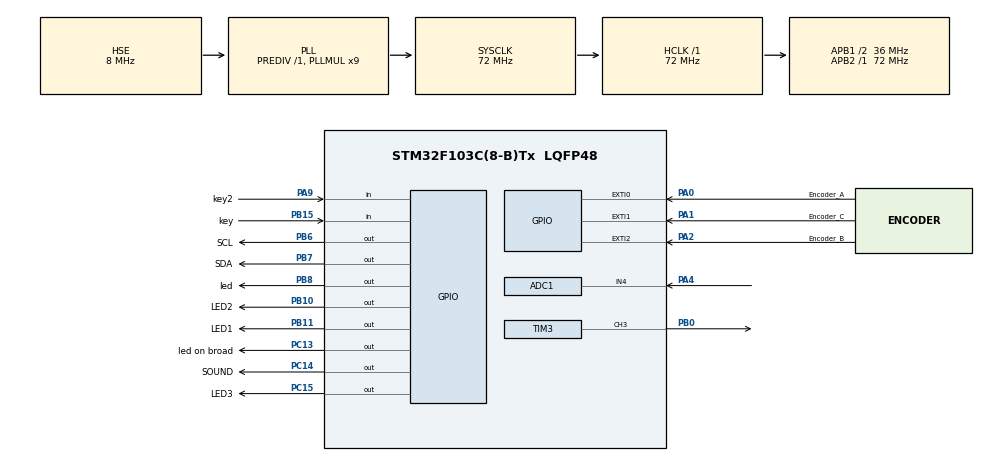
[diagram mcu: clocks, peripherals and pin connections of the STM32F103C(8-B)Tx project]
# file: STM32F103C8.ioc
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ADC1.Channel-0\#ChannelRegularConversion=ADC_CHANNEL_4
ADC1.NbrOfConversionFlag=1
ADC1.Rank-0\#ChannelRegularConversion=1
ADC1.SamplingTime-0\#ChannelRegularConversion=ADC_SAMPLETIME_1CYCLE_5
ADC1.master=1
Mcu.Family=STM32F1
Mcu.Name=STM32F103C(8-B)Tx
Mcu.Package=LQFP48
NVIC.EXTI0_IRQn=true\:0\:0\:false\:false\:true\:true\:true\:true
NVIC.EXTI1_IRQn=true\:0\:0\:false\:false\:true\:true\:true\:true
NVIC.EXTI2_IRQn=true\:0\:0\:false\:false\:true\:true\:true\:true
NVIC.PriorityGroup=NVIC_PRIORITYGROUP_4
PA0-WKUP.GPIO_Label=Encoder_A
PA0-WKUP.GPIO_ModeDefaultEXTI=GPIO_MODE_IT_RISING_FALLING
PA0-WKUP.GPIO_PuPd=GPIO_PULLUP
PA0-WKUP.Signal=GPXTI0
PA1.GPIO_Label=Encoder_C
PA1.GPIO_ModeDefaultEXTI=GPIO_MODE_IT_FALLING
PA1.GPIO_PuPd=GPIO_PULLUP
PA1.Signal=GPXTI1
PA13.Mode=Serial_Wire
PA13.Signal=SYS_JTMS-SWDIO
PA14.Mode=Serial_Wire
PA14.Signal=SYS_JTCK-SWCLK
PA2.GPIO_Label=Encoder_B
PA2.GPIO_ModeDefaultEXTI=GPIO_MODE_IT_RISING_FALLING
PA2.GPIO_PuPd=GPIO_PULLUP
PA2.Signal=GPXTI2
PA4.Signal=ADCx_IN4
PA9.GPIO_Label=key2
PA9.GPIO_PuPd=GPIO_PULLUP
PA9.Signal=GPIO_Input
PB0.Signal=S_TIM3_CH3
PB10.GPIO_Label=LED2
PB10.Signal=GPIO_Output
PB11.GPIO_Label=LED1
PB11.Signal=GPIO_Output
PB15.GPIO_Label=key
PB15.GPIO_PuPd=GPIO_PULLUP
PB15.Signal=GPIO_Input
PB6.GPIO_Label=SCL
PB6.GPIO_ModeDefaultOutputPP=GPIO_MODE_OUTPUT_OD
PB6.GPIO_PuPd=GPIO_NOPULL
PB6.Signal=GPIO_Output
PB7.GPIO_Label=SDA
PB7.GPIO_ModeDefaultOutputPP=GPIO_MODE_OUTPUT_OD
PB7.GPIO_PuPd=GPIO_NOPULL
PB7.Signal=GPIO_Output
PB8.GPIO_Label=led
PB8.Signal=GPIO_Output
PC13-TAMPER-RTC.GPIO_Label=led on broad
PC13-TAMPER-RTC.Signal=GPIO_Output
PC14-OSC32_IN.GPIO_Label=SOUND
PC14-OSC32_IN.PinState=GPIO_PIN_SET
PC14-OSC32_IN.Signal=GPIO_Output
PC15-OSC32_OUT.GPIO_Label=LED3
PC15-OSC32_OUT.Signal=GPIO_Output
PD0-OSC_IN.Mode=HSE-External-Oscillator
PD0-OSC_IN.Signal=RCC_OSC_IN
PD1-OSC_OUT.Mode=HSE-External-Oscillator
PD1-OSC_OUT.Signal=RCC_OSC_OUT
ProjectManager.HeapSize=0x200
ProjectManager.StackSize=0x400
ProjectManager.TargetToolchain=CMake
RCC.ADCPresc=RCC_ADCPCLK2_DIV6
RCC.AHBFreq_Value=72000000
RCC.APB1CLKDivider=RCC_HCLK_DIV2
RCC.APB1Freq_Value=36000000
RCC.APB1TimFreq_Value=72000000
RCC.APB2Freq_Value=72000000
RCC.APB2TimFreq_Value=72000000
RCC.HCLKFreq_Value=72000000
RCC.PLLMUL=RCC_PLL_MUL9
RCC.PLLSourceVirtual=RCC_PLLSOURCE_HSE
RCC.SYSCLKFreq_VALUE=72000000
RCC.SYSCLKSource=RCC_SYSCLKSOURCE_PLLCLK
RCC.USBFreq_Value=72000000
SH.ADCx_IN4.0=ADC1_IN4,IN4
SH.S_TIM3_CH3.0=TIM3_CH3,PWM Generation3 CH3
TIM3.Channel-PWM\ Generation3\ CH3=TIM_CHANNEL_3
TIM3.Period=1999
TIM3.Prescaler=7
VP_TIM1_VS_ClockSourceINT.Mode=Internal
VP_TIM2_VS_ClockSourceINT.Mode=Internal
VP_TIM3_VS_ClockSourceINT.Mode=Internal
board=custom

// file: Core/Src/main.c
/* USER CODE BEGIN Header */
/**
  ******************************************************************************
  * @file           : main.c
  * @brief          : Main program body
  ******************************************************************************
  * @attention
  *
  * Copyright (c) 2026 STMicroelectronics.
  * All rights reserved.
  *
  * This software is licensed under terms that can be found in the LICENSE file
  * in the root directory of this software component.
  * If no LICENSE file comes with this software, it is provided AS-IS.
  *
  ******************************************************************************
  */
/* USER CODE END Header */
#include "main.h"

/* USER CODE BEGIN Includes */
#include "adc.h"
#include "key.h"
#include "oled.h"
#include "oledfont.h"
#include "encoder.h"
/* USER CODE END Includes */

ADC_HandleTypeDef hadc1;

TIM_HandleTypeDef htim1;
TIM_HandleTypeDef htim2;
TIM_HandleTypeDef htim3;

void SystemClock_Config(void);
static void MX_GPIO_Init(void);
static void MX_TIM1_Init(void);
static void MX_TIM3_Init(void);
static void MX_TIM2_Init(void);
static void MX_ADC1_Init(void);

/* USER CODE BEGIN 0 */
void DWT_Init(void)
{
  CoreDebug->DEMCR |= CoreDebug_DEMCR_TRCENA_Msk;
  DWT->CYCCNT = 0;
  DWT->CTRL |= DWT_CTRL_CYCCNTENA_Msk;
}
void delay_us(uint32_t us)
{
  uint32_t start = DWT->CYCCNT;
  uint32_t cycles = us * (SystemCoreClock / 1000000);
  while (DWT->CYCCNT - start < cycles);
}
void HAL_GPIO_EXTI_Callback(uint16_t GPIO_Pin)
{
  Encoder_EXTI_Handler(GPIO_Pin);
}
/* USER CODE END 0 */

int main(void)
{

  /* MCU Configuration--------------------------------------------------------*/

  /* Reset of all peripherals, Initializes the Flash interface and the Systick. */
  HAL_Init();

  /* Configure the system clock */
  SystemClock_Config();

  /* Initialize all configured peripherals */
  MX_GPIO_Init();
  MX_TIM1_Init();
  MX_TIM3_Init();
  MX_TIM2_Init();
  MX_ADC1_Init();
  /* USER CODE BEGIN 2 */
  DWT_Init();
  OLED_Init();
  OLED_Clear();
  OLED_ShowString(0, 0, "Smart car");
  OLED_ShowChinese(0, 2, ZH_ZHI);
  OLED_ShowChinese(16, 2, ZH_NENG);
  OLED_ShowChinese(32, 2, ZH_CHE);
  Encoder_Init();
  ADC_AppInit();                    /* ADC 上电校准 */
  HAL_TIM_PWM_Start(&htim3, TIM_CHANNEL_3);
  uint8_t page = 0;                 /* 0=标题 1=旋钮 2=光敏电压 */

  /* USER CODE END 2 */

  /* Infinite loop */
  while (1)
  {

    /* USER CODE BEGIN 3 */
    //流水灯
    //PB11 pb10 pb1 pa0
    static uint32_t j = 0;
    static uint8_t step = 0;
    if (HAL_GetTick()-j > 500)
    {
      j = HAL_GetTick();
      step++;
      if (step > 3)
      {
        step = 0;
      }
    }

    switch (step)
    {
      case 0:
        HAL_GPIO_WritePin(LED1_GPIO_Port,LED1_Pin,GPIO_PIN_RESET);
        HAL_GPIO_WritePin(LED2_GPIO_Port,LED2_Pin,GPIO_PIN_RESET);
        HAL_GPIO_WritePin(LED3_GPIO_Port,LED3_Pin,GPIO_PIN_RESET);
        HAL_GPIO_WritePin(SOUND_GPIO_Port,SOUND_Pin,GPIO_PIN_SET);
        break;
      case 1:
        HAL_GPIO_WritePin(LED1_GPIO_Port,LED1_Pin,GPIO_PIN_SET);
        break;
      case 2:
        HAL_GPIO_WritePin(LED2_GPIO_Port,LED2_Pin,GPIO_PIN_SET);
        break;
      case 3:
        HAL_GPIO_WritePin(LED3_GPIO_Port,LED3_Pin,GPIO_PIN_SET);
        HAL_GPIO_WritePin(SOUND_GPIO_Port,SOUND_Pin,GPIO_PIN_RESET);
        break;
    }
    /* PA9：切页（0=标题 1=旋钮 2=光敏电压） */
    if (key2_scan() == 1)
    {
      page++;
      if (page > 2)
      {
        page = 0;
      }
      OLED_Clear();
      if (page == 0)
      {
        OLED_ShowString(0, 0, "Smart car");
        OLED_ShowChinese(0, 2, ZH_ZHI);
        OLED_ShowChinese(16, 2, ZH_NENG);
        OLED_ShowChinese(32, 2, ZH_CHE);
      }
      else if (page == 1)
      {
        OLED_ShowString(0, 0, "CW :");
        OLED_ShowString(0, 2, "CCW:");
        OLED_ShowString(0, 4, "Duty:");
      }
      else
      {
        OLED_ShowString(0, 0, "Light Sensor");
        OLED_ShowString(0, 2, "ADC:");
        OLED_ShowString(0, 4, "mV :");
      }
    }

    /* PB15：点灯（翻转 PB8） */
    if (key_scan() == 1)
    {
      HAL_GPIO_TogglePin(led_GPIO_Port, led_Pin);
    }

    /* 亮度实时跟随旋钮，跟当前在哪一页无关 */
    __HAL_TIM_SET_COMPARE(&htim3, TIM_CHANNEL_3, (uint32_t)led_duty * 20);

    /* 只在旋钮页刷数字 */
    if (page == 1)
    {
      OLED_ShowNum(40, 0, encoder_cw_count,  5);
      OLED_ShowNum(40, 2, encoder_ccw_count, 5);
      OLED_ShowNum(48, 4, led_duty, 3);
      OLED_ShowString(72, 4, "%");
    }
    /* 光敏页：ADC 原始值 + 换算后的真实电压(mV) */
    else if (page == 2)
    {
      uint16_t adc_raw = ADC_ReadRawAvg();
      OLED_ShowNum(36, 2, adc_raw, 4);
      OLED_ShowNum(36, 4, ADC_RAW_TO_MV(adc_raw), 4);
    }
    //HAL_Delay(50);
  }

  if (I2C_WaitAck() != 0)
  {
    HAL_GPIO_TogglePin(led_GPIO_Port, led_Pin);
  }

  /* USER CODE END 3 */
}

void SystemClock_Config(void)
{
  RCC_OscInitTypeDef RCC_OscInitStruct = {0};
  RCC_ClkInitTypeDef RCC_ClkInitStruct = {0};
  RCC_PeriphCLKInitTypeDef PeriphClkInit = {0};

  /** Initializes the RCC Oscillators according to the specified parameters
  * in the RCC_OscInitTypeDef structure.
  */
  RCC_OscInitStruct.OscillatorType = RCC_OSCILLATORTYPE_HSE;
  RCC_OscInitStruct.HSEState = RCC_HSE_ON;
  RCC_OscInitStruct.HSEPredivValue = RCC_HSE_PREDIV_DIV1;
  RCC_OscInitStruct.HSIState = RCC_HSI_ON;
  RCC_OscInitStruct.PLL.PLLState = RCC_PLL_ON;
  RCC_OscInitStruct.PLL.PLLSource = RCC_PLLSOURCE_HSE;
  RCC_OscInitStruct.PLL.PLLMUL = RCC_PLL_MUL9;
  if (HAL_RCC_OscConfig(&RCC_OscInitStruct) != HAL_OK)
  {
    Error_Handler();
  }

  /** Initializes the CPU, AHB and APB buses clocks
  */
  RCC_ClkInitStruct.ClockType = RCC_CLOCKTYPE_HCLK|RCC_CLOCKTYPE_SYSCLK
                              |RCC_CLOCKTYPE_PCLK1|RCC_CLOCKTYPE_PCLK2;
  RCC_ClkInitStruct.SYSCLKSource = RCC_SYSCLKSOURCE_PLLCLK;
  RCC_ClkInitStruct.AHBCLKDivider = RCC_SYSCLK_DIV1;
  RCC_ClkInitStruct.APB1CLKDivider = RCC_HCLK_DIV2;
  RCC_ClkInitStruct.APB2CLKDivider = RCC_HCLK_DIV1;

  if (HAL_RCC_ClockConfig(&RCC_ClkInitStruct, FLASH_LATENCY_2) != HAL_OK)
  {
    Error_Handler();
  }
  PeriphClkInit.PeriphClockSelection = RCC_PERIPHCLK_ADC;
  PeriphClkInit.AdcClockSelection = RCC_ADCPCLK2_DIV6;
  if (HAL_RCCEx_PeriphCLKConfig(&PeriphClkInit) != HAL_OK)
  {
    Error_Handler();
  }
}

static void MX_ADC1_Init(void)
{

  ADC_ChannelConfTypeDef sConfig = {0};

  /** Common config
  */
  hadc1.Instance = ADC1;
  hadc1.Init.ScanConvMode = ADC_SCAN_DISABLE;
  hadc1.Init.ContinuousConvMode = DISABLE;
  hadc1.Init.DiscontinuousConvMode = DISABLE;
  hadc1.Init.ExternalTrigConv = ADC_SOFTWARE_START;
  hadc1.Init.DataAlign = ADC_DATAALIGN_RIGHT;
  hadc1.Init.NbrOfConversion = 1;
  if (HAL_ADC_Init(&hadc1) != HAL_OK)
  {
    Error_Handler();
  }

  /** Configure Regular Channel
  */
  sConfig.Channel = ADC_CHANNEL_4;
  sConfig.Rank = ADC_REGULAR_RANK_1;
  sConfig.SamplingTime = ADC_SAMPLETIME_1CYCLE_5;
  if (HAL_ADC_ConfigChannel(&hadc1, &sConfig) != HAL_OK)
  {
    Error_Handler();
  }
  /* USER CODE BEGIN ADC1_Init 2 */
  /* 光敏模块输出阻抗较大，采样时间由 1.5 周期加长到 55.5 周期 */
  sConfig.SamplingTime = ADC_SAMPLETIME_55CYCLES_5;
  if (HAL_ADC_ConfigChannel(&hadc1, &sConfig) != HAL_OK)
  {
    Error_Handler();
  }

  /* USER CODE END ADC1_Init 2 */

}

static void MX_TIM1_Init(void)
{

  TIM_ClockConfigTypeDef sClockSourceConfig = {0};
  TIM_MasterConfigTypeDef sMasterConfig = {0};

  htim1.Instance = TIM1;
  htim1.Init.Prescaler = 0;
  htim1.Init.CounterMode = TIM_COUNTERMODE_UP;
  htim1.Init.Period = 65535;
  htim1.Init.ClockDivision = TIM_CLOCKDIVISION_DIV1;
  htim1.Init.RepetitionCounter = 0;
  htim1.Init.AutoReloadPreload = TIM_AUTORELOAD_PRELOAD_DISABLE;
  if (HAL_TIM_Base_Init(&htim1) != HAL_OK)
  {
    Error_Handler();
  }
  sClockSourceConfig.ClockSource = TIM_CLOCKSOURCE_INTERNAL;
  if (HAL_TIM_ConfigClockSource(&htim1, &sClockSourceConfig) != HAL_OK)
  {
    Error_Handler();
  }
  sMasterConfig.MasterOutputTrigger = TIM_TRGO_RESET;
  sMasterConfig.MasterSlaveMode = TIM_MASTERSLAVEMODE_DISABLE;
  if (HAL_TIMEx_MasterConfigSynchronization(&htim1, &sMasterConfig) != HAL_OK)
  {
    Error_Handler();
  }

}

static void MX_TIM2_Init(void)
{

  TIM_ClockConfigTypeDef sClockSourceConfig = {0};
  TIM_MasterConfigTypeDef sMasterConfig = {0};

  htim2.Instance = TIM2;
  htim2.Init.Prescaler = 0;
  htim2.Init.CounterMode = TIM_COUNTERMODE_UP;
  htim2.Init.Period = 65535;
  htim2.Init.ClockDivision = TIM_CLOCKDIVISION_DIV1;
  htim2.Init.AutoReloadPreload = TIM_AUTORELOAD_PRELOAD_DISABLE;
  if (HAL_TIM_Base_Init(&htim2) != HAL_OK)
  {
    Error_Handler();
  }
  sClockSourceConfig.ClockSource = TIM_CLOCKSOURCE_INTERNAL;
  if (HAL_TIM_ConfigClockSource(&htim2, &sClockSourceConfig) != HAL_OK)
  {
    Error_Handler();
  }
  sMasterConfig.MasterOutputTrigger = TIM_TRGO_RESET;
  sMasterConfig.MasterSlaveMode = TIM_MASTERSLAVEMODE_DISABLE;
  if (HAL_TIMEx_MasterConfigSynchronization(&htim2, &sMasterConfig) != HAL_OK)
  {
    Error_Handler();
  }

}

static void MX_TIM3_Init(void)
{

  TIM_ClockConfigTypeDef sClockSourceConfig = {0};
  TIM_MasterConfigTypeDef sMasterConfig = {0};
  TIM_OC_InitTypeDef sConfigOC = {0};

  htim3.Instance = TIM3;
  htim3.Init.Prescaler = 7;
  htim3.Init.CounterMode = TIM_COUNTERMODE_UP;
  htim3.Init.Period = 1999;
  htim3.Init.ClockDivision = TIM_CLOCKDIVISION_DIV1;
  htim3.Init.AutoReloadPreload = TIM_AUTORELOAD_PRELOAD_DISABLE;
  if (HAL_TIM_Base_Init(&htim3) != HAL_OK)
  {
    Error_Handler();
  }
  sClockSourceConfig.ClockSource = TIM_CLOCKSOURCE_INTERNAL;
  if (HAL_TIM_ConfigClockSource(&htim3, &sClockSourceConfig) != HAL_OK)
  {
    Error_Handler();
  }
  if (HAL_TIM_PWM_Init(&htim3) != HAL_OK)
  {
    Error_Handler();
  }
  sMasterConfig.MasterOutputTrigger = TIM_TRGO_RESET;
  sMasterConfig.MasterSlaveMode = TIM_MASTERSLAVEMODE_DISABLE;
  if (HAL_TIMEx_MasterConfigSynchronization(&htim3, &sMasterConfig) != HAL_OK)
  {
    Error_Handler();
  }
  sConfigOC.OCMode = TIM_OCMODE_PWM1;
  sConfigOC.Pulse = 0;
  sConfigOC.OCPolarity = TIM_OCPOLARITY_HIGH;
  sConfigOC.OCFastMode = TIM_OCFAST_DISABLE;
  if (HAL_TIM_PWM_ConfigChannel(&htim3, &sConfigOC, TIM_CHANNEL_3) != HAL_OK)
  {
    Error_Handler();
  }
  HAL_TIM_MspPostInit(&htim3);

}

static void MX_GPIO_Init(void)
{
  GPIO_InitTypeDef GPIO_InitStruct = {0};

  /* GPIO Ports Clock Enable */
  __HAL_RCC_GPIOC_CLK_ENABLE();
  __HAL_RCC_GPIOD_CLK_ENABLE();
  __HAL_RCC_GPIOA_CLK_ENABLE();
  __HAL_RCC_GPIOB_CLK_ENABLE();

  /*Configure GPIO pin Output Level */
  HAL_GPIO_WritePin(GPIOC, led_on_broad_Pin|LED3_Pin, GPIO_PIN_RESET);

  /*Configure GPIO pin Output Level */
  HAL_GPIO_WritePin(SOUND_GPIO_Port, SOUND_Pin, GPIO_PIN_SET);

  /*Configure GPIO pin Output Level */
  HAL_GPIO_WritePin(GPIOB, LED2_Pin|LED1_Pin|SCL_Pin|SDA_Pin
                          |led_Pin, GPIO_PIN_RESET);

  /*Configure GPIO pins : led_on_broad_Pin SOUND_Pin LED3_Pin */
  GPIO_InitStruct.Pin = led_on_broad_Pin|SOUND_Pin|LED3_Pin;
  GPIO_InitStruct.Mode = GPIO_MODE_OUTPUT_PP;
  GPIO_InitStruct.Pull = GPIO_NOPULL;
  GPIO_InitStruct.Speed = GPIO_SPEED_FREQ_LOW;
  HAL_GPIO_Init(GPIOC, &GPIO_InitStruct);

  /*Configure GPIO pins : Encoder_A_Pin Encoder_B_Pin */
  GPIO_InitStruct.Pin = Encoder_A_Pin|Encoder_B_Pin;
  GPIO_InitStruct.Mode = GPIO_MODE_IT_RISING_FALLING;
  GPIO_InitStruct.Pull = GPIO_PULLUP;
  HAL_GPIO_Init(GPIOA, &GPIO_InitStruct);

  /*Configure GPIO pin : Encoder_C_Pin */
  GPIO_InitStruct.Pin = Encoder_C_Pin;
  GPIO_InitStruct.Mode = GPIO_MODE_IT_FALLING;
  GPIO_InitStruct.Pull = GPIO_PULLUP;
  HAL_GPIO_Init(Encoder_C_GPIO_Port, &GPIO_InitStruct);

  /*Configure GPIO pins : LED2_Pin LED1_Pin led_Pin */
  GPIO_InitStruct.Pin = LED2_Pin|LED1_Pin|led_Pin;
  GPIO_InitStruct.Mode = GPIO_MODE_OUTPUT_PP;
  GPIO_InitStruct.Pull = GPIO_NOPULL;
  GPIO_InitStruct.Speed = GPIO_SPEED_FREQ_LOW;
  HAL_GPIO_Init(GPIOB, &GPIO_InitStruct);

  /*Configure GPIO pin : key_Pin */
  GPIO_InitStruct.Pin = key_Pin;
  GPIO_InitStruct.Mode = GPIO_MODE_INPUT;
  GPIO_InitStruct.Pull = GPIO_PULLUP;
  HAL_GPIO_Init(key_GPIO_Port, &GPIO_InitStruct);

  /*Configure GPIO pin : key2_Pin */
  GPIO_InitStruct.Pin = key2_Pin;
  GPIO_InitStruct.Mode = GPIO_MODE_INPUT;
  GPIO_InitStruct.Pull = GPIO_PULLUP;
  HAL_GPIO_Init(key2_GPIO_Port, &GPIO_InitStruct);

  /*Configure GPIO pins : SCL_Pin SDA_Pin */
  GPIO_InitStruct.Pin = SCL_Pin|SDA_Pin;
  GPIO_InitStruct.Mode = GPIO_MODE_OUTPUT_OD;
  GPIO_InitStruct.Pull = GPIO_NOPULL;
  GPIO_InitStruct.Speed = GPIO_SPEED_FREQ_LOW;
  HAL_GPIO_Init(GPIOB, &GPIO_InitStruct);

  /* EXTI interrupt init*/
  HAL_NVIC_SetPriority(EXTI0_IRQn, 0, 0);
  HAL_NVIC_EnableIRQ(EXTI0_IRQn);

  HAL_NVIC_SetPriority(EXTI1_IRQn, 0, 0);
  HAL_NVIC_EnableIRQ(EXTI1_IRQn);

  HAL_NVIC_SetPriority(EXTI2_IRQn, 0, 0);
  HAL_NVIC_EnableIRQ(EXTI2_IRQn);

}

void Error_Handler(void)
{
  __disable_irq();
  while (1)
  {
  }
}
